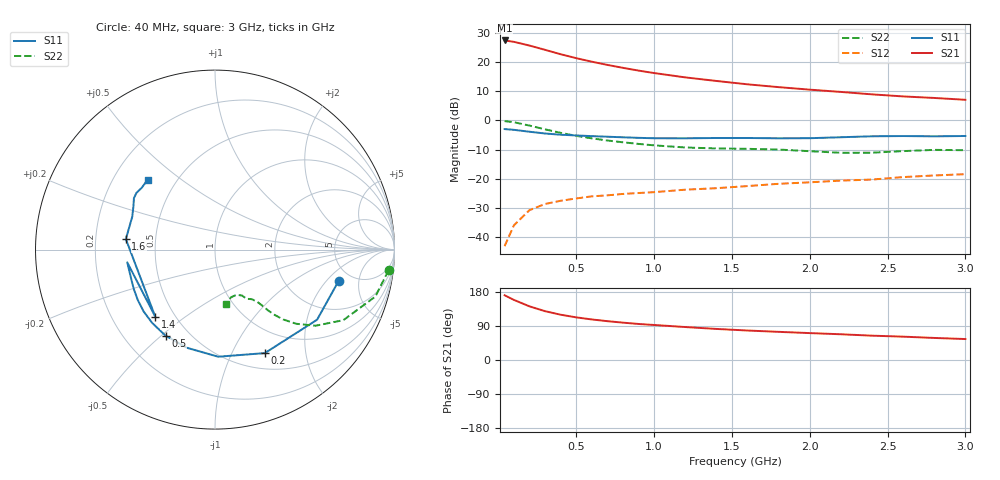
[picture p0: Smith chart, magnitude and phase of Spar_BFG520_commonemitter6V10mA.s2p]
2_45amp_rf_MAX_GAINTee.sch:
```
<Qucs Schematic 0.0.20>
<Properties>
  <View=-20,-129,1574,667,0.819652,0,0>
  <Grid=10,10,1>
  <DataSet=2_45amp_rf_MAX_GAINTee.dat>
  <DataDisplay=2_45amp_rf_MAX_GAINTee.dpl>
  <OpenDisplay=1>
  <Script=2_45amp_rf_MAX_GAINTee.m>
  <RunScript=0>
  <showFrame=0>
  <FrameText0=Title>
  <FrameText1=Drawn By:>
  <FrameText2=Date:>
  <FrameText3=Revision:>
</Properties>
<Symbol>
</Symbol>
<Components>
  <GND * 5 520 240 0 0 0 0>
  <Pac P2 1 870 240 18 -26 0 1 "2" 1 "50 Ohm" 1 "0 dBm" 0 "1 GHz" 0 "26.85" 0>
  <GND * 5 870 270 0 0 0 0>
  <MLIN SeriesSource 1 410 210 -26 15 0 0 "RO3003_1" 1 "3.0622 mm" 1 "1.8601 mm" 1 "Hammerstad" 0 "Kirschning" 0 "26.85" 0>
  <MLIN SeriesLoad 1 650 210 -26 15 0 0 "RO3003_1" 1 "3.0622 mm" 1 "17.673 mm" 1 "Hammerstad" 0 "Kirschning" 0 "26.85" 0>
  <Eqn Eqn1 1 1090 40 -31 19 0 0 "K=Rollet(S)" 1 "yes" 0>
  <Eqn Eqn2 1 1220 40 -31 19 0 0 "GT=dB((abs(S[2,1])/abs(S[1,2]))*(K-sqrt(K^2-1)))" 1 "yes" 0>
  <Eqn Eqn3 1 1080 160 -31 19 0 0 "Delta=S[1,1]*S[2,2]-S[1,2]*S[2,1]" 1 "yes" 0>
  <Eqn Eqn4 1 1080 270 -31 19 0 0 "B1=1+abs(S[1,1])^2-abs(S[2,2]-abs(Delta)^2)" 1 "B2=1+abs(S[2,2])^2-abs(S[1,1]-abs(Delta)^2)" 1 "C1=S[1,1]-Delta*conj(S[2,2])" 1 "C2=S[2,2]-Delta*conj(S[1,1])" 1 "GammaS=(B1-sqrt(B1^-4*abs(C1)^2))/(2*C1)" 1 "yes" 0>
  <Eqn Eqn5 1 1080 460 -31 19 0 0 "GammaL=(B2-sqrt(B2^-4*abs(C2)^2))/(2*C2)" 1 "yes" 0>
  <Eqn Eqn6 1 1080 560 -31 19 0 0 "GammaIndB=dB(abs(GammaS))" 1 "GammaOutdB=dB(abs(GammaL))" 1 "yes" 0>
  <SUBST RO3003_1 1 500 -20 -30 24 0 0 "4.4" 1 "1.6  mm" 1 "35 um" 1 "0.0018" 1 "0.022e-6" 1 "1.4e-6" 1>
  <Eqn Sparam 1 120 350 -30 16 0 0 "S12dB=dB(S[1,2])" 1 "S12=(S[1,2])" 1 "S11dB=dB(S[1,1])" 1 "S11=(S[1,1])" 1 "S21dB=dB(S[2,1])" 1 "S21=(S[2,1])" 1 "S22dB=dB(S[2,2])" 1 "S22=(S[2,2])" 1 "yes" 0>
  <SPfile X1 1 520 210 -26 -41 0 0 "/home/lasse/Documents/test M4/Spar_BFG520_commonemitter6V10mA.s2p" 0 "rectangular" 0 "linear" 0 "open" 0 "2" 0>
  <GND * 5 140 290 0 0 0 0>
  <.SP ss 1 30 -50 0 79 0 0 "lin" 1 "2.44GHz" 1 "2.46 GHz" 1 "10" 1 "no" 0 "1" 0 "2" 0 "no" 0 "no" 0>
  <Pac P1 1 140 250 18 -26 0 1 "1" 1 "50 Ohm" 1 "0 dBm" 0 "1 GHz" 0 "26.85" 0>
  <MLIN StubSource 1 280 70 15 -26 0 1 "RO3003_1" 1 "3.0622 mm" 1 "11.921 mm" 1 "Hammerstad" 0 "Kirschning" 0 "26.85" 0>
  <MTEE MS2 1 770 208 -26 15 0 2 "RO3003_1" 0 "3.0622 mm" 0 "3.0622 mm" 0 "3.0622 mm" 0 "Hammerstad" 0 "Kirschning" 0 "26.85" 0 "showNumbers" 0>
  <MTEE MS3 1 280 208 -22 61 0 2 "RO3003_1" 0 "3.0622 mm" 0 "3.0622 mm" 0 "3.0622 mm" 0 "Hammerstad" 0 "Kirschning" 0 "26.85" 0 "showNumbers" 0>
  <MLIN StubLoad 1 770 70 15 -26 0 1 "RO3003_1" 1 "3.0622 mm" 1 "9.9806 mm" 1 "Hammerstad" 0 "Kirschning" 0 "26.85" 0>
</Components>
<Wires>
  <440 210 490 210 "" 0 0 0 "">
  <550 210 620 210 "" 0 0 0 "">
  <140 280 140 290 "" 0 0 0 "">
  <140 210 140 220 "" 0 0 0 "">
  <140 210 250 210 "" 0 0 0 "">
  <250 208 250 210 "" 0 0 0 "">
  <310 210 380 210 "" 0 0 0 "">
  <310 208 310 210 "" 0 0 0 "">
  <280 100 280 178 "" 0 0 0 "">
  <680 210 740 210 "" 0 0 0 "">
  <740 208 740 210 "" 0 0 0 "">
  <800 210 870 210 "" 0 0 0 "">
  <800 208 800 210 "" 0 0 0 "">
  <770 100 770 178 "" 0 0 0 "">
</Wires>
<Diagrams>
  <Rect 320 540 240 160 3 #c0c0c0 1 00 1 0 0.2 1 1 -0.1 0.5 1.1 1 -0.1 0.5 1.1 315 0 225 "" "" "" "">
	<"S21dB" #0000ff 0 3 0 0 0>
	<"S22dB" #ff0000 0 3 0 0 0>
	<"S11dB" #ff00ff 0 3 0 0 0>
  </Rect>
  <Tab 660 560 300 200 3 #c0c0c0 1 00 1 0 1 1 1 0 1 1 1 0 1 10 315 0 225 "" "" "" "">
	<"S21dB" #0000ff 0 3 1 0 0>
	<"S22dB" #0000ff 0 3 1 0 0>
	<"S11dB" #0000ff 0 3 1 0 0>
  </Tab>
</Diagrams>
<Paintings>
</Paintings>
```
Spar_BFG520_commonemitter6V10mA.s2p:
! Filename:  BFG520I.S2P  Version:  2.1
! NXP part #: BFG520  Date: Feb 1992
! Bias condition: Vce=6V, Ic=10mA
! IN LINE PINNING: same data as with cross emitter pinning.
#  MHz  S  MA  R  50
! Freq  S11  S21  S12  S22  !GUM [dB]
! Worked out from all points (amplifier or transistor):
!   21 points, 40 MHz to 3 GHz, reference 50 ohm
!   highest |S21| = 27.4 dB at 40 MHz (marker M1)
!   |S21| within 3 dB of that: start of sweep to 285.2 MHz
!   unconditionally stable (mu >= 1): 1.301 GHz to end of sweep
!   at 300 MHz: K = 0.31, MSG = 26.4 dB, |S12| = -28.6 dB
!   at 1 GHz: K = 0.86, MSG = 20.4 dB, |S12| = -24.6 dB
!   at 3 GHz: K = 1.24, MAG = 9.8 dB, |S12| = -18.4 dB
!   lowest NFmin = 1.10 dB at 500 MHz
!   S11 on the Smith chart (normalised r, x): 40 MHz: 3.91, -2.74; 200 MHz: 0.69, -1.35; 500 MHz: 0.37, -0.52; 1.4 GHz: 0.39, -0.39; 1.6 GHz: 0.33, +0.05; 3 GHz: 0.35, +0.38
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40  0.711 -14.1  23.47 170.8  0.007 82.3  0.974 -6.8
100  0.69 -34.5  22.22 158.5  0.016 74.0  0.931 -16.3
200  0.64 -64.3  19.18 141.5  0.029 62.4  0.816 -28.8
300  0.597 -88.3  16.21 128.8  0.037 54.2  0.703 -37.1
400  0.569 -106.1  13.63 119.5  0.042 50.9  0.613 -42.4
500  0.553 -119.9  11.67 112.5  0.046 48.6  0.544 -45.7
600  0.538 -130.7  10.15 107.0  0.05 47.2  0.493 -47.6
800  0.514 -146.7  7.968 98.6  0.055 47.9  0.422 -49.5
1400  0.5 -131.8  4.748 82.0  0.069 52.5  0.331 -56.1
1600  0.5 173.3  4.159 77.8  0.075 55.2  0.326 -57.3
3000  0.541 133.9  2.259 55.3  0.12 62.3  0.309 -78.3
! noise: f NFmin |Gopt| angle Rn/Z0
500  1.1  0.33  27  0.25
900  1.25  0.294  48  0.26
1000  1.3  0.298  52  0.27
2000  1.9  0.242  134  0.16
